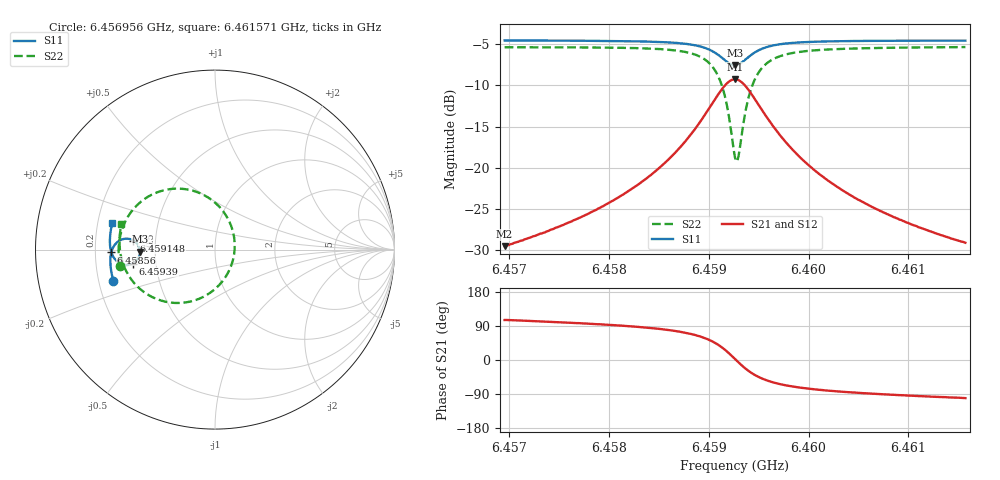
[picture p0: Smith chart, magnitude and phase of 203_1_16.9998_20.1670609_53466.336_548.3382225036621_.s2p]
#  HZ  S  RI  R  50.00
! Rohde & Schwarz Vector Network Analyzer
! Rohde-Schwarz,ZNB20-2Port,1311601062101988,3.16
! Created: UTC 3/20/2024, 11:01:08 PM
! freq[Hz]  re:S11  im:S11  re:S21  im:S21  re:S12  im:S12  re:S22  im:S22
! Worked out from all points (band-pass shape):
!   401 points, 6.456956 GHz to 6.461571 GHz, reference 50 ohm
!   highest |S21| = -9.26 dB at 6.459263 GHz (marker M1); lowest = -29.5 dB at 6.456956 GHz (marker M2)
!   |S21| within 3 dB of the highest: 6.459032 GHz to 6.459495 GHz (462.1 kHz wide, 0.00715 % of centre)
!   lowest |S11| = -7.6 dB at 6.459263 GHz (marker M3), VSWR 2.44, Z = 20.5 - j0.597 ohm
!   |S11| at or under -10 dB: nowhere
!   |S22| runs from -19.2 to -5.4 dB; largest |S21 - S12| = 0.013
!   S11 on the Smith chart (normalised r, x): 6.456956 GHz: 0.26, -0.14; 6.45856 GHz: 0.27, -0.01; 6.459148 GHz: 0.37, +0.05; 6.45939 GHz: 0.37, -0.07; 6.461571 GHz: 0.26, +0.12
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6.4569556e9  -0.5658 -0.1751  -0.00897 0.0323  -0.00744 0.0323  -0.5311 -0.0895
6.4577287e9  -0.5801 -0.1076  -0.00597 0.0502  -0.00337 0.0497  -0.537 0.000529
6.4581441e9  -0.5832 -0.066  -0.00033 0.069  0.00287 0.0677  -0.5301 0.0661
6.4585019e9  -0.5796 -0.0236  0.0137 0.0986  0.0176 0.0959  -0.5048 0.1459
6.4585595e9  -0.5778 -0.0156  0.0179 0.1055  0.022 0.1024  -0.4968 0.1626
6.4587673e9  -0.5649 0.0166  0.0451 0.1379  0.0493 0.1331  -0.4458 0.2356
6.4589173e9  -0.5424 0.0431  0.0901 0.1685  0.0935 0.1619  -0.363 0.3003
6.4590557e9  -0.4988 0.0607  0.1772 0.1855  0.1781 0.1781  -0.2045 0.3395
6.4591481e9  -0.4543 0.0506  0.2669 0.1546  0.267 0.1488  -0.0384 0.2904
6.4592173e9  -0.4253 0.0188  0.3274 0.0833  0.3296 0.0781  0.0771 0.1621
6.4592634e9  -0.4182 -0.012  0.344 0.0156  0.3476 0.0089  0.1098 0.0361
6.459275e9  -0.4187 -0.0201  0.3438 -0.0019  0.3477 -0.00942  0.1096 0.0027
6.4592981e9  -0.4221 -0.0357  0.3384 -0.0365  0.3423 -0.0454  0.0989 -0.0628
6.4593442e9  -0.4376 -0.0616  0.3103 -0.0962  0.3126 -0.108  0.0423 -0.1756
6.4593904e9  -0.4595 -0.078  0.2687 -0.1373  0.268 -0.1504  -0.0419 -0.2504
6.4594827e9  -0.5026 -0.085  0.1845 -0.1689  0.1785 -0.1803  -0.2096 -0.2973
6.4596327e9  -0.5465 -0.0646  0.0968 -0.1557  0.0883 -0.1617  -0.3766 -0.2493
6.4597943e9  -0.5682 -0.0371  0.052 -0.128  0.0445 -0.1308  -0.4573 -0.1781
6.4600366e9  -0.5809 -0.00157  0.0227 -0.0969  0.0169 -0.0974  -0.5056 -0.0962
6.4603712e9  -0.5856 0.0382  0.00686 -0.0707  0.00285 -0.0704  -0.5271 -0.0194
6.4608097e9  -0.5838 0.0824  -0.00111 -0.0517  -0.00404 -0.0509  -0.5321 0.0509
6.4615713e9  -0.5718 0.1499  -0.00644 -0.0345  -0.00813 -0.0336  -0.5213 0.1408
